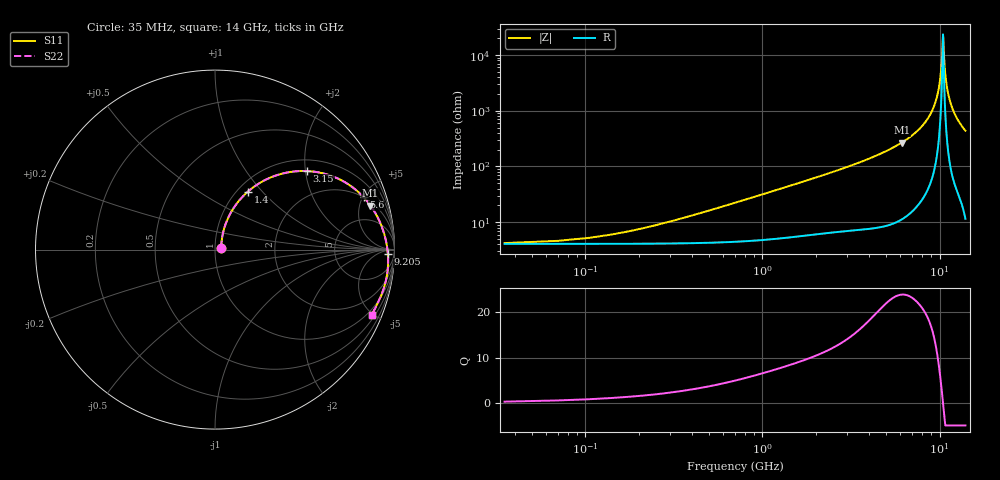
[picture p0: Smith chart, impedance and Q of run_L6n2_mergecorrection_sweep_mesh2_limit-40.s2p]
#  Hz  S  RI  R  50
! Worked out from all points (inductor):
!   400 points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, 35 MHz to 14 GHz, reference 50 ohm
!   read as one part in series: L = 4.95 nH near 420 MHz
!   highest Q = 24 at 6.125 GHz (marker M1), where L = 6.98 nH
!   self-resonance near 10.46 GHz
!   S11 on the Smith chart (normalised r, x): 35 MHz: 1.07, +0.02; 1.4 GHz: 1.12, +0.84; 3.15 GHz: 1.27, +2.04; 5.6 GHz: 1.99, +5.08; 9.205 GHz: 35, -26; 14 GHz: 0.72, -4.91
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3.5e7  0.0343 0.0097  0.9559 -0.0105  0.9559 -0.0105  0.0343 0.00969
2.8e8  0.0413 0.077  0.9484 -0.0832  0.9484 -0.0832  0.0413 0.0769
5.25e8  0.0588 0.1414  0.9299 -0.1529  0.9299 -0.1529  0.0588 0.1413
1.4e9  0.1835 0.3233  0.7987 -0.3495  0.7987 -0.3495  0.1835 0.3232
2.38e9  0.3702 0.4223  0.6062 -0.4589  0.6062 -0.4588  0.3701 0.4222
3.15e9  0.5123 0.4377  0.4621 -0.4815  0.4621 -0.4815  0.5122 0.4377
4.69e9  0.7378 0.3669  0.2353 -0.4273  0.2353 -0.4273  0.7377 0.367
5.6e9  0.8277 0.2924  0.1444 -0.3635  0.1444 -0.3635  0.8276 0.2925
6.125e9  0.8663 0.2455  0.1051 -0.3228  0.105 -0.3228  0.8662 0.2456
7.035e9  0.9145 0.1629  0.0554 -0.2508  0.0554 -0.2508  0.9144 0.163
9.205e9  0.9633 -0.0258  0.00342 -0.0874  0.00336 -0.0874  0.9633 -0.0256
9.345e9  0.964 -0.0375  0.00249 -0.0774  0.00242 -0.0774  0.964 -0.0373
9.765e9  0.9646 -0.072  0.00123 -0.048  0.00115 -0.048  0.9646 -0.0718
1.008e10  0.9635 -0.0975  0.00176 -0.0264  0.00168 -0.0264  0.9635 -0.0973
1.029e10  0.9621 -0.1142  0.0028 -0.0122  0.00271 -0.0122  0.9621 -0.114
1.0465e10  0.9605 -0.128  0.00407 -0.0006  0.00398 -0.000597  0.9605 -0.1277
1.064e10  0.9585 -0.1416  0.0057 0.0108  0.00561 0.0108  0.9585 -0.1413
1.085e10  0.9556 -0.1576  0.00813 0.0243  0.00803 0.0243  0.9556 -0.1573
1.12e10  0.9497 -0.1837  0.0132 0.0462  0.0131 0.0462  0.9498 -0.1834
1.169e10  0.9394 -0.2186  0.0224 0.0753  0.0222 0.0753  0.9395 -0.2183
1.2635e10  0.9148 -0.2806  0.0449 0.1262  0.0448 0.1262  0.915 -0.2803
1.4e10  0.8732 -0.3628  0.0842 0.1917  0.084 0.1918  0.8735 -0.3624
